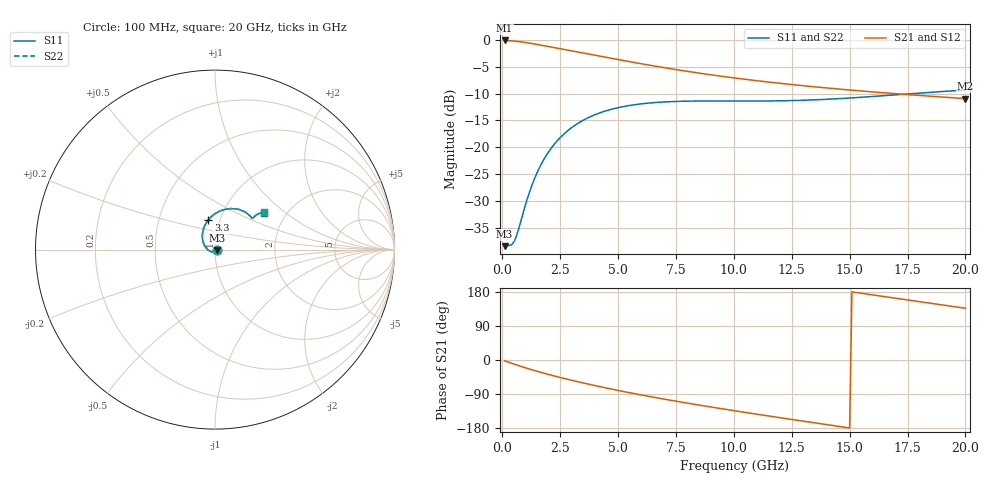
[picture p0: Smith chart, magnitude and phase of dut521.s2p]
! Touchstone file exported from HFSS 2024.1.0
!  File:  C:/UserFiles/LocalFiles/RDL_TSV_Batchsim/temp_RDL_TSV_521_1779742590.aedt
!  Generated:  05:08:50 AM May 26, 2026
!  Design:  RDL_TSV
!  Project:  temp_RDL_TSV_521_1779742590
!  Setup:  Setup1
!  Solution:  Sweep
! Variables:
!  dtsv = 13.77um
!  hbump = 3um
!  htsv = 90.13um
!  ldown = 439.37um
!  lrdl = 410.27um
!  p = 40
!  p1 = 55.33um
!  rhole = 10um
!  subl = 2959.19um
!  t = 450um
!  tdown = 4.78um
!  trdl = 4.33um
!  viad = 10um
!  wdown = 20.19um
!  wrdl = 20.12um
!  xbump = 18um
# GHz S MA R 50.000000
! Terminal data exported
! Port[1] = TM1_1_T1
! Port[2] = TM1_4_T1
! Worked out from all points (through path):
!   200 points, 100 MHz to 20 GHz, reference 50 ohm
!   highest |S21| = -0.11 dB at 100 MHz (marker M1); lowest = -10.9 dB at 20 GHz (marker M2)
!   group delay of S21, straight-line fit = 29 ps
!   lowest |S11| = -38.4 dB at 100 MHz (marker M3), VSWR 1.02, Z = 51.2 - j0.277 ohm
!   |S11| at or under -10 dB: start of sweep to 17.72 GHz
!   |S22| runs from -38.4 to -9.3 dB; largest |S21 - S12| = 1.2e-14
!   S11 on the Smith chart (normalised r, x): 100 MHz: 1.02, -0.01; 3.3 GHz: 0.88, +0.30; 20 GHz: 1.54, +0.72
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0.1  0.01206 -13.0  0.9872 -2.2  0.9872 -2.2  0.01206 -13.0
! Gamma 0 0 0 0
! Port Impedance 50 0 50 0
0.4  0.01243 -66.1  0.9788 -8.6  0.9788 -8.6  0.01242 -66.1
0.5  0.01319 -86.5  0.9746 -10.6  0.9746 -10.6  0.01318 -86.6
0.7  0.01723 -124.1  0.9642 -14.7  0.9642 -14.7  0.01724 -124.2
1  0.02921 -162.3  0.9447 -20.6  0.9447 -20.6  0.02928 -162.4
1.3  0.04566 174.0  0.9222 -26.2  0.9222 -26.2  0.0458 173.9
1.5  0.05801 162.2  0.9064 -29.8  0.9064 -29.8  0.0582 162.1
1.8  0.07755 147.8  0.8821 -34.9  0.8821 -34.9  0.07782 147.8
2.1  0.09742 136.1  0.8579 -39.8  0.8579 -39.8  0.09778 136.0
2.5  0.1232 123.0  0.8264 -46.1  0.8264 -46.1  0.1237 123.0
3.3  0.1691 102.8  0.7667 -57.9  0.7667 -57.9  0.1698 102.8
3.5  0.1791 98.6  0.7526 -60.7  0.7526 -60.7  0.1798 98.6
4.2  0.2089 85.9  0.7051 -70.1  0.7051 -70.1  0.2098 85.9
5.1  0.2365 73.1  0.6493 -81.5  0.6493 -81.5  0.2375 73.1
5.9  0.2525 64.2  0.6047 -91.1  0.6047 -91.1  0.2536 64.3
6.8  0.2631 56.4  0.56 -101.2  0.56 -101.2  0.2643 56.5
8.4  0.2698 47.1  0.4941 -118.0  0.4941 -118.0  0.2711 47.2
10.1  0.2698 41.9  0.4401 -134.6  0.4401 -134.6  0.271 42.0
11.7  0.2704 40.0  0.4005 -149.6  0.4005 -149.6  0.2717 40.1
13.4  0.2762 39.8  0.3672 -165.1  0.3672 -165.1  0.2776 39.9
16.7  0.3048 39.8  0.3191 165.5  0.3191 165.5  0.3063 39.9
20  0.3414 37.2  0.2842 136.6  0.2842 136.6  0.3432 37.3
